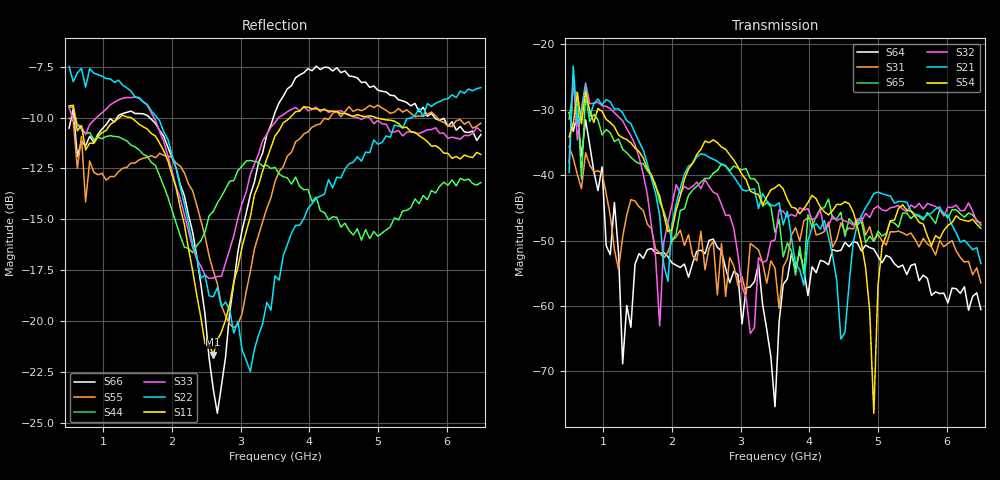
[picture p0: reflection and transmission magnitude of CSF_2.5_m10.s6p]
!Keysight Technologies,M9804A,MY58100912,A.14.10.03
!Date: Thursday, April 27, 2023 10:28:33
!Correction: S11(C  6-Port  )
!S12(C  6-Port  )
!S13(C  6-Port  )
!S14(C  6-Port  )
!S15(C  6-Port  )
!S16(C  6-Port  )
!S21(C  6-Port  )
!S22(C  6-Port  )
!S23(C  6-Port  )
!S24(C  6-Port  )
!S25(C  6-Port  )
!S26(C  6-Port  )
!S31(C  6-Port  )
!S32(C  6-Port  )
!S33(C  6-Port  )
!S34(C  6-Port  )
!S35(C  6-Port  )
!S36(C  6-Port  )
!S41(C  6-Port  )
!S42(C  6-Port  )
!S43(C  6-Port  )
!S44(C  6-Port  )
!S45(C  6-Port  )
!S46(C  6-Port  )
!S51(C  6-Port  )
!S52(C  6-Port  )
!S53(C  6-Port  )
!S54(C  6-Port  )
!S55(C  6-Port  )
!S56(C  6-Port  )
!S61(C  6-Port  )
!S62(C  6-Port  )
!S63(C  6-Port  )
!S64(C  6-Port  )
!S65(C  6-Port  )
!S66(C  6-Port  )
!S6P File: Measurement: :
# Hz S  RI  R 50
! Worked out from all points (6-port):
!   101 points, 500 MHz to 6.5 GHz, reference 50 ohm
!   strongest paths, dB at 500 MHz, 2 GHz, 3.5 GHz, 5 GHz, 6.5 GHz:
!     S54: -34.1, -48.3, -41.9, -57.0, -48.1
!     S21: -39.6, -47.4, -44.7, -42.6, -53.5
!     S32: -38.1, -44.5, -49.9, -44.7, -47.2
!     S65: -31.4, -50.0, -48.8, -48.6, -47.6
!     S31: -35.6, -50.0, -54.2, -49.0, -56.5
!     S64: -30.5, -53.4, -75.4, -52.4, -60.5
!   lowest |S11| = -21.6 dB at 2.6 GHz (marker M1), VSWR 1.18, Z = 42.6 + j2.03 ohm
!   |S11| at or under -10 dB: 588.8 MHz to 1.234 GHz (644.7 MHz wide, 70.8 % of centre); 1.401 GHz to 3.718 GHz (2.317 GHz wide, 90.5 % of centre); 4.972 GHz to end of sweep
